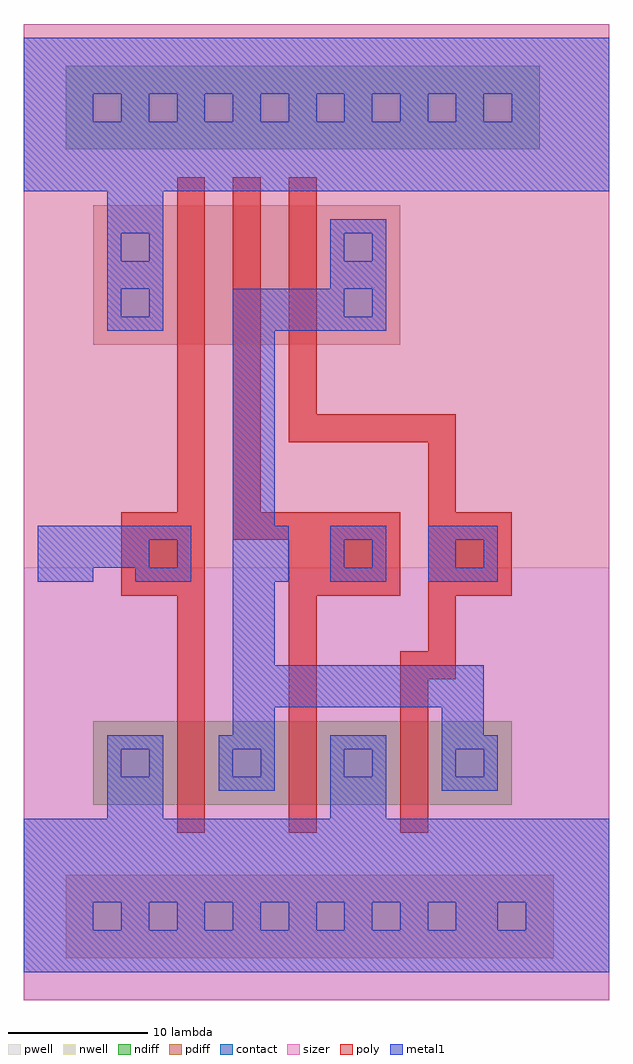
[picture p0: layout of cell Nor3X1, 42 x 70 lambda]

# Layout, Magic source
magic
tech LibreSilicon-test000-concept-mg-70-7
<< sizer >>
rect 0 0 42 70
<< metal1 >>
rect 0 65 42 69
rect 0 63 5 65
rect 7 63 9 65
rect 11 63 13 65
rect 15 63 17 65
rect 19 63 21 65
rect 23 63 25 65
rect 27 63 29 65
rect 31 63 33 65
rect 35 63 42 65
rect 0 58 42 63
rect 6 55 10 58
rect 22 55 26 56
rect 6 53 7 55
rect 9 53 10 55
rect 22 53 23 55
rect 25 53 26 55
rect 6 51 10 53
rect 22 51 26 53
rect 6 49 7 51
rect 9 49 10 51
rect 15 49 23 51
rect 25 49 26 51
rect 6 48 10 49
rect 15 48 26 49
rect 15 34 18 48
rect 1 33 12 34
rect 15 30 19 34
rect 22 33 26 34
rect 29 33 34 34
rect 1 31 9 33
rect 11 31 12 33
rect 22 31 23 33
rect 25 31 26 33
rect 29 31 31 33
rect 33 31 34 33
rect 1 30 5 31
rect 8 30 12 31
rect 22 30 26 31
rect 29 30 34 31
rect 15 24 18 30
rect 15 21 33 24
rect 15 19 18 21
rect 30 19 33 21
rect 6 18 10 19
rect 14 18 18 19
rect 22 18 26 19
rect 30 18 34 19
rect 6 16 7 18
rect 9 16 10 18
rect 14 16 15 18
rect 17 16 18 18
rect 22 16 23 18
rect 25 16 26 18
rect 30 16 31 18
rect 33 16 34 18
rect 6 13 10 16
rect 14 15 18 16
rect 22 13 26 16
rect 30 15 34 16
rect 0 7 42 13
rect 0 5 5 7
rect 7 5 9 7
rect 11 5 13 7
rect 15 5 17 7
rect 19 5 21 7
rect 23 5 25 7
rect 27 5 29 7
rect 31 5 34 7
rect 36 5 42 7
rect 0 2 42 5
<< contact >>
rect 5 63 7 65
rect 9 63 11 65
rect 13 63 15 65
rect 17 63 19 65
rect 21 63 23 65
rect 25 63 27 65
rect 29 63 31 65
rect 33 63 35 65
rect 7 53 9 55
rect 23 53 25 55
rect 7 49 9 51
rect 23 49 25 51
rect 9 31 11 33
rect 23 31 25 33
rect 31 31 33 33
rect 7 16 9 18
rect 15 16 17 18
rect 23 16 25 18
rect 31 16 33 18
rect 5 5 7 7
rect 9 5 11 7
rect 13 5 15 7
rect 17 5 19 7
rect 21 5 23 7
rect 25 5 27 7
rect 29 5 31 7
rect 34 5 36 7
<< poly >>
rect 11 35 13 59
rect 15 35 17 59
rect 19 42 21 59
rect 19 40 31 42
rect 29 35 31 40
rect 7 29 13 35
rect 15 33 27 35
rect 29 29 35 35
rect 19 29 27 33
rect 11 12 13 29
rect 19 12 21 29
rect 29 25 31 29
rect 27 23 31 25
rect 27 12 29 23
<< ndiff >>
rect 3 61 37 67
rect 5 14 35 20
<< pdiff >>
rect 5 47 27 57
rect 3 3 38 9
<< nwell >>
rect 0 31 42 70
<< pwell >>
rect 0 0 42 31
<< end >>
